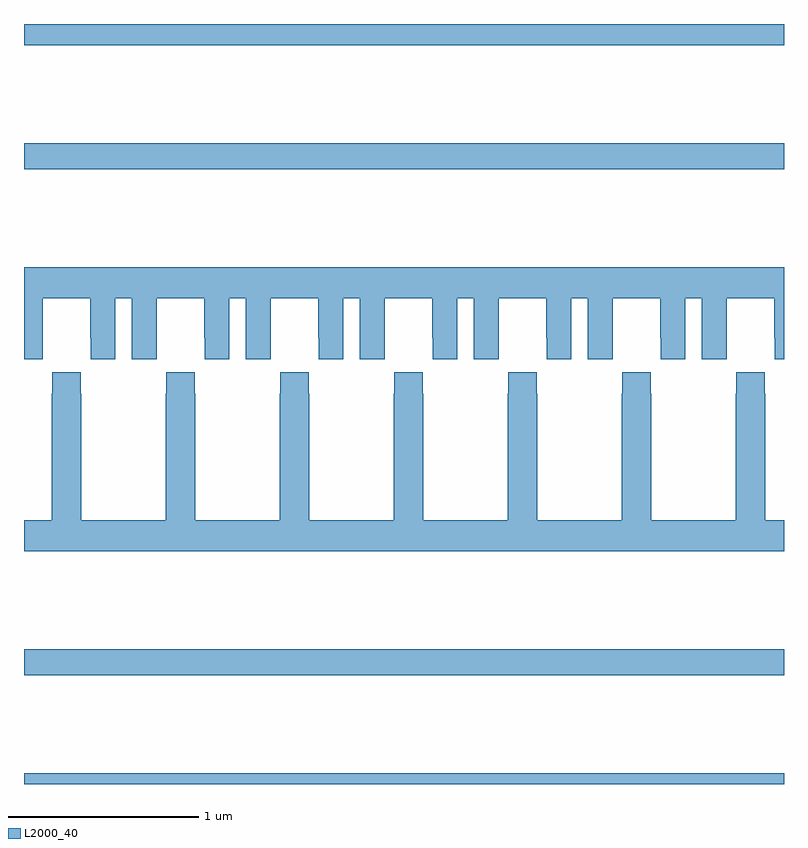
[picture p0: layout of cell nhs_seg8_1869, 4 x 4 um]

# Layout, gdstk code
import gdstk
lib = gdstk.Library(unit=1e-6, precision=1e-09)
def R(c, l, rs):  # rectangles x0, y0, x1, y1
    for r in rs: c.add(gdstk.rectangle(r[:2], r[2:], *l))
def P(c, l, *ps):  # polygons
    for p in ps: c.add(gdstk.Polygon(p, *l))
L2000_40 = (2000, 40)

nhs_seg8_1869 = lib.new_cell('nhs_seg8_1869')
R(nhs_seg8_1869, L2000_40, [(229,1157.9,233,1157.956), (229,1158.472,233,1158.608), (229,1161.136,233,1161.272), (229,1161.788,233,1161.9)])
P(nhs_seg8_1869, L2000_40, [(229,1160.136),(229.098,1160.136),(229.098,1160.248),(229.099,1160.248),(229.099,1160.456),(229.349,1160.456),(229.349,1160.248),(229.35,1160.248),(229.35,1160.136),(229.48,1160.136),(229.48,1160.456),(229.568,1160.456),(229.568,1160.136),(229.698,1160.136),(229.698,1160.248),(229.699,1160.248),(229.699,1160.456),(229.949,1160.456),(229.949,1160.248),(229.95,1160.248),(229.95,1160.136),(230.08,1160.136),(230.08,1160.456),(230.168,1160.456),(230.168,1160.136),(230.298,1160.136),(230.298,1160.248),(230.299,1160.248),(230.299,1160.456),(230.549,1160.456),(230.549,1160.248),(230.55,1160.248),(230.55,1160.136),(230.68,1160.136),(230.68,1160.456),(230.768,1160.456),(230.768,1160.136),(230.898,1160.136),(230.898,1160.248),(230.899,1160.248),(230.899,1160.456),(231.149,1160.456),(231.149,1160.248),(231.15,1160.248),(231.15,1160.136),(231.28,1160.136),(231.28,1160.456),(231.368,1160.456),(231.368,1160.136),(231.498,1160.136),(231.498,1160.248),(231.499,1160.248),(231.499,1160.456),(231.749,1160.456),(231.749,1160.248),(231.75,1160.248),(231.75,1160.136),(231.88,1160.136),(231.88,1160.456),(231.968,1160.456),(231.968,1160.136),(232.098,1160.136),(232.098,1160.248),(232.099,1160.248),(232.099,1160.456),(232.349,1160.456),(232.349,1160.248),(232.35,1160.248),(232.35,1160.136),(232.48,1160.136),(232.48,1160.456),(232.568,1160.456),(232.568,1160.136),(232.698,1160.136),(232.698,1160.248),(232.699,1160.248),(232.699,1160.456),(232.949,1160.456),(232.949,1160.248),(232.95,1160.248),(232.95,1160.136),(233,1160.136),(233,1160.62),(229,1160.62)],
  [(230.349,1160.068),(230.349,1159.955),(230.347,1159.955),(230.347,1159.288),(229.902,1159.288),(229.902,1159.955),(229.899,1159.955),(229.899,1160.068),(229.749,1160.068),(229.749,1159.955),(229.747,1159.955),(229.747,1159.288),(229.302,1159.288),(229.302,1159.955),(229.299,1159.955),(229.299,1160.068),(229.149,1160.068),(229.149,1159.955),(229.147,1159.955),(229.147,1159.288),(229,1159.288),(229,1159.124),(233,1159.124),(233,1159.288),(232.902,1159.288),(232.902,1159.955),(232.899,1159.955),(232.899,1160.068),(232.749,1160.068),(232.749,1159.955),(232.747,1159.955),(232.747,1159.288),(232.302,1159.288),(232.302,1159.955),(232.299,1159.955),(232.299,1160.068),(232.149,1160.068),(232.149,1159.955),(232.147,1159.955),(232.147,1159.288),(231.702,1159.288),(231.702,1159.955),(231.699,1159.955),(231.699,1160.068),(231.549,1160.068),(231.549,1159.955),(231.547,1159.955),(231.547,1159.288),(231.102,1159.288),(231.102,1159.955),(231.099,1159.955),(231.099,1160.068),(230.949,1160.068),(230.949,1159.955),(230.947,1159.955),(230.947,1159.288),(230.502,1159.288),(230.502,1159.955),(230.499,1159.955),(230.499,1160.068)])

lib.write_gds('nhs_seg8_1869.gds')
